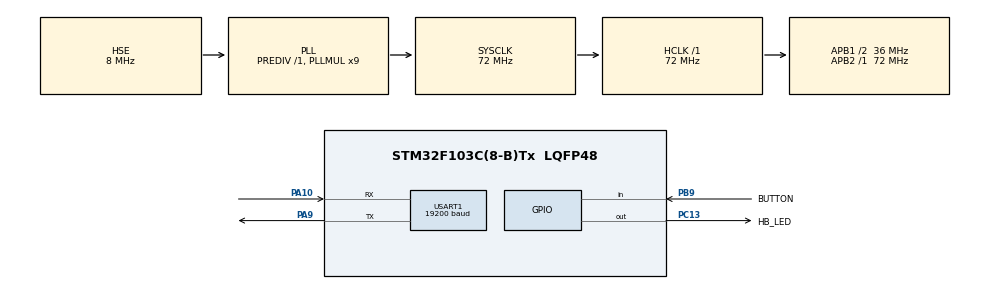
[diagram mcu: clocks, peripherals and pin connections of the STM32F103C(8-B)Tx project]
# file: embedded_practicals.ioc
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Mcu.Family=STM32F1
Mcu.Name=STM32F103C(8-B)Tx
Mcu.Package=LQFP48
NVIC.PriorityGroup=NVIC_PRIORITYGROUP_4
NVIC.USART1_IRQn=true\:0\:0\:false\:false\:true\:true\:true\:true
PA10.Mode=Asynchronous
PA10.Signal=USART1_RX
PA13.Mode=Serial_Wire
PA13.Signal=SYS_JTMS-SWDIO
PA14.Mode=Serial_Wire
PA14.Signal=SYS_JTCK-SWCLK
PA9.Mode=Asynchronous
PA9.Signal=USART1_TX
PB9.GPIO_Label=BUTTON
PB9.Signal=GPIO_Input
PC13-TAMPER-RTC.GPIO_Label=HB_LED
PC13-TAMPER-RTC.GPIO_Speed=GPIO_SPEED_FREQ_HIGH
PC13-TAMPER-RTC.PinState=GPIO_PIN_RESET
PC13-TAMPER-RTC.Signal=GPIO_Output
PC14-OSC32_IN.Mode=LSE-External-Clock-Source
PC14-OSC32_IN.Signal=RCC_OSC32_IN
PC15-OSC32_OUT.Mode=LSE-External-Clock-Source
PC15-OSC32_OUT.Signal=RCC_OSC32_OUT
PD0-OSC_IN.Mode=HSE-External-Oscillator
PD0-OSC_IN.Signal=RCC_OSC_IN
PD1-OSC_OUT.Mode=HSE-External-Oscillator
PD1-OSC_OUT.Signal=RCC_OSC_OUT
ProjectManager.HeapSize=0x200
ProjectManager.StackSize=0x400
ProjectManager.TargetToolchain=STM32CubeIDE
RCC.AHBFreq_Value=72000000
RCC.APB1CLKDivider=RCC_HCLK_DIV2
RCC.APB1Freq_Value=36000000
RCC.APB1TimFreq_Value=72000000
RCC.APB2Freq_Value=72000000
RCC.APB2TimFreq_Value=72000000
RCC.HCLKFreq_Value=72000000
RCC.PLLMUL=RCC_PLL_MUL9
RCC.PLLSourceVirtual=RCC_PLLSOURCE_HSE
RCC.SYSCLKFreq_VALUE=72000000
RCC.SYSCLKSource=RCC_SYSCLKSOURCE_PLLCLK
RCC.USBFreq_Value=72000000
USART1.BaudRate=19200
USART1.VirtualMode=VM_ASYNC
board=custom

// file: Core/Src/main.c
/* USER CODE BEGIN Header */
/**
  ******************************************************************************
  * @file           : main.c
  * @brief          : Main program body
  ******************************************************************************
  * @attention
  *
  * Copyright (c) 2026 STMicroelectronics.
  * All rights reserved.
  *
  * This software is licensed under terms that can be found in the LICENSE file
  * in the root directory of this software component.
  * If no LICENSE file comes with this software, it is provided AS-IS.
  *
  ******************************************************************************
  */
/* USER CODE END Header */
#include "main.h"

/* USER CODE BEGIN Includes */
#include<string.h>
/* USER CODE END Includes */

UART_HandleTypeDef huart1;

/* USER CODE BEGIN PV */
unsigned char g_uc_Main_State = MAIN_STATE_IDLE;
volatile unsigned int g_vui_HB_Ticker = 0;
unsigned char g_uc_Raw_Rx_Buffer[5];
unsigned  char g_uc_Final_Rx_Buffer[100];
unsigned char g_uc_Rx_Index_Counter = 0;
unsigned char g_uc_RX_Data_Flag = 0;
/* USER CODE END PV */

void SystemClock_Config(void);
static void MX_GPIO_Init(void);
static void MX_USART1_UART_Init(void);
/* USER CODE BEGIN PFP */
void fn_Heartbeat_Handler(void);
void fn_Process_Rx_Data(void);
/* USER CODE END PFP */

/* USER CODE BEGIN 0 */
void HAL_UART_RxCpltCallback(UART_HandleTypeDef *huart)
{
  /* Prevent unused argument(s) compilation warning */
  UNUSED(huart);
  /* NOTE: This function should not be modified, when the callback is needed,
           the HAL_UART_RxCpltCallback could be implemented in the user file
   */
  if(huart->Instance == USART1)
  {
	  g_uc_Final_Rx_Buffer[g_uc_Rx_Index_Counter]= g_uc_Raw_Rx_Buffer[0];
	  g_uc_Rx_Index_Counter++;
	  if('\n' == g_uc_Raw_Rx_Buffer[0])
	  {
		  g_uc_RX_Data_Flag = 1;
		  g_uc_Rx_Index_Counter = 0;
	  }
	  HAL_UART_Receive_IT(huart, g_uc_Raw_Rx_Buffer, 1);

  }
}
/* USER CODE END 0 */

int main(void)
{

  /* USER CODE BEGIN 1 */
	unsigned char fw_version[] = "EP_00_01.hex";
  /* USER CODE END 1 */

  /* MCU Configuration--------------------------------------------------------*/

  /* Reset of all peripherals, Initializes the Flash interface and the Systick. */
  HAL_Init();

  /* Configure the system clock */
  SystemClock_Config();

  /* Initialize all configured peripherals */
  MX_GPIO_Init();
  MX_USART1_UART_Init();
  /* USER CODE BEGIN 2 */
  HAL_UART_Receive_IT(&huart1, g_uc_Raw_Rx_Buffer, 1);
  /* USER CODE END 2 */

  /* Infinite loop */
  while (1)
  {

    /* USER CODE BEGIN 3 */
	  switch(g_uc_Main_State)
	  {
	  case MAIN_STATE_IDLE:
	  {
		  HAL_UART_Transmit(&huart1, fw_version, sizeof(fw_version), 1000);
		  g_uc_Main_State = MAIN_STATE_HEARTBEAT;
	  }
	  break;
	  case MAIN_STATE_HEARTBEAT:
	  {
//		  fn_Heartbeat_Handler();
		  g_uc_Main_State = MAIN_STATE_UART;
	  }
	  break;
	  case MAIN_STATE_UART:
	  {
		  if(g_uc_RX_Data_Flag)
		  {
			  g_uc_RX_Data_Flag = 0;
			  fn_Process_Rx_Data();

		  }

		  g_uc_Main_State = MAIN_STATE_HEARTBEAT;
	  }
	  break;

	  }
  }
  /* USER CODE END 3 */
}

void SystemClock_Config(void)
{
  RCC_OscInitTypeDef RCC_OscInitStruct = {0};
  RCC_ClkInitTypeDef RCC_ClkInitStruct = {0};

  /** Initializes the RCC Oscillators according to the specified parameters
  * in the RCC_OscInitTypeDef structure.
  */
  RCC_OscInitStruct.OscillatorType = RCC_OSCILLATORTYPE_HSE;
  RCC_OscInitStruct.HSEState = RCC_HSE_ON;
  RCC_OscInitStruct.HSEPredivValue = RCC_HSE_PREDIV_DIV1;
  RCC_OscInitStruct.HSIState = RCC_HSI_ON;
  RCC_OscInitStruct.PLL.PLLState = RCC_PLL_ON;
  RCC_OscInitStruct.PLL.PLLSource = RCC_PLLSOURCE_HSE;
  RCC_OscInitStruct.PLL.PLLMUL = RCC_PLL_MUL9;
  if (HAL_RCC_OscConfig(&RCC_OscInitStruct) != HAL_OK)
  {
    Error_Handler();
  }

  /** Initializes the CPU, AHB and APB buses clocks
  */
  RCC_ClkInitStruct.ClockType = RCC_CLOCKTYPE_HCLK|RCC_CLOCKTYPE_SYSCLK
                              |RCC_CLOCKTYPE_PCLK1|RCC_CLOCKTYPE_PCLK2;
  RCC_ClkInitStruct.SYSCLKSource = RCC_SYSCLKSOURCE_PLLCLK;
  RCC_ClkInitStruct.AHBCLKDivider = RCC_SYSCLK_DIV1;
  RCC_ClkInitStruct.APB1CLKDivider = RCC_HCLK_DIV2;
  RCC_ClkInitStruct.APB2CLKDivider = RCC_HCLK_DIV1;

  if (HAL_RCC_ClockConfig(&RCC_ClkInitStruct, FLASH_LATENCY_2) != HAL_OK)
  {
    Error_Handler();
  }
}

static void MX_USART1_UART_Init(void)
{

  huart1.Instance = USART1;
  huart1.Init.BaudRate = 19200;
  huart1.Init.WordLength = UART_WORDLENGTH_8B;
  huart1.Init.StopBits = UART_STOPBITS_1;
  huart1.Init.Parity = UART_PARITY_NONE;
  huart1.Init.Mode = UART_MODE_TX_RX;
  huart1.Init.HwFlowCtl = UART_HWCONTROL_NONE;
  huart1.Init.OverSampling = UART_OVERSAMPLING_16;
  if (HAL_UART_Init(&huart1) != HAL_OK)
  {
    Error_Handler();
  }

}

static void MX_GPIO_Init(void)
{
  GPIO_InitTypeDef GPIO_InitStruct = {0};

  /* GPIO Ports Clock Enable */
  __HAL_RCC_GPIOC_CLK_ENABLE();
  __HAL_RCC_GPIOD_CLK_ENABLE();
  __HAL_RCC_GPIOA_CLK_ENABLE();
  __HAL_RCC_GPIOB_CLK_ENABLE();

  /*Configure GPIO pin Output Level */
  HAL_GPIO_WritePin(HB_LED_GPIO_Port, HB_LED_Pin, GPIO_PIN_RESET);

  /*Configure GPIO pin : HB_LED_Pin */
  GPIO_InitStruct.Pin = HB_LED_Pin;
  GPIO_InitStruct.Mode = GPIO_MODE_OUTPUT_PP;
  GPIO_InitStruct.Pull = GPIO_NOPULL;
  GPIO_InitStruct.Speed = GPIO_SPEED_FREQ_HIGH;
  HAL_GPIO_Init(HB_LED_GPIO_Port, &GPIO_InitStruct);

  /*Configure GPIO pin : BUTTON_Pin */
  GPIO_InitStruct.Pin = BUTTON_Pin;
  GPIO_InitStruct.Mode = GPIO_MODE_INPUT;
  GPIO_InitStruct.Pull = GPIO_NOPULL;
  HAL_GPIO_Init(BUTTON_GPIO_Port, &GPIO_InitStruct);

}

/* USER CODE BEGIN 4 */
void fn_Heartbeat_Handler(void)
{
	if(!g_vui_HB_Ticker)
	{
		g_vui_HB_Ticker = HB_TIMEOUT; // 1000 ms
		HAL_GPIO_TogglePin(HB_LED_GPIO_Port, HB_LED_Pin);
	}
}
void fn_Process_Rx_Data(void)
{
	if(strstr(g_uc_Final_Rx_Buffer,"LED ON"))
	{
		HAL_GPIO_WritePin(HB_LED_GPIO_Port, HB_LED_Pin, GPIO_PIN_RESET);
		char *ack = "LED is ON\r\n";
		HAL_UART_Transmit(&huart1, (uint8_t *)ack, sizeof(ack), 1000);

	}
	else if(strstr(g_uc_Final_Rx_Buffer,"LED OFF"))
	{
		HAL_GPIO_WritePin(HB_LED_GPIO_Port, HB_LED_Pin, GPIO_PIN_SET);
		char *ack = "LED is OFF\r\n";
		HAL_UART_Transmit(&huart1, (uint8_t *)ack, sizeof(ack), 1000);

	}
	else
	{
		char *ack = "command is wrong. Please choose following commands \r\n 1.LED ON\r\n 2.LED OFF \r\n";
		HAL_UART_Transmit(&huart1, (uint8_t *)ack, sizeof(ack), 1000);
	}

}
/* USER CODE END 4 */

void Error_Handler(void)
{
  __disable_irq();
  while (1)
  {
  }
}
